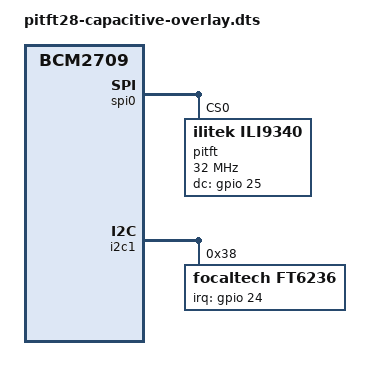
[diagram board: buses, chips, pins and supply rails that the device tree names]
/*
 * Device Tree overlay for Adafruit PiTFT 2.8" capacitive touch screen
 *
 */

/dts-v1/;
/plugin/;

/ {
        compatible = "brcm,bcm2835", "brcm,bcm2708", "brcm,bcm2709";

        fragment@0 {
                target = <&spi0>;
                __overlay__ {
                        status = "okay";
                };
        };

	fragment@1 {
		target = <&spidev0>;
		__overlay__ {
			status = "disabled";
		};
	};

        fragment@2 {
                target = <&gpio>;
                __overlay__ {
                        pitft_pins: pitft_pins {
                                brcm,pins = <24 25>;
                                brcm,function = <0 1>; /* in out */
                                brcm,pull = <2 0>; /* pullup none */
                        };
                };
        };

        fragment@3 {
                target = <&spi0>;
                __overlay__ {
                        /* needed to avoid dtc warning */
                        #address-cells = <1>;
                        #size-cells = <0>;

                        pitft: pitft@0{
                                compatible = "ilitek,ili9340";
                                reg = <0>;
                                pinctrl-names = "default";
                                pinctrl-0 = <&pitft_pins>;

                                spi-max-frequency = <32000000>;
                                rotate = <90>;
                                fps = <25>;
                                bgr;
                                buswidth = <8>;
                                dc-gpios = <&gpio 25 0>;
                                debug = <0>;
                        };
                };
        };

        fragment@4 {
                target = <&i2c1>;
                __overlay__ {
                        /* needed to avoid dtc warning */
                        #address-cells = <1>;
                        #size-cells = <0>;

                        ft6236: ft6236@38 {
                                compatible = "focaltech,ft6236";
                                reg = <0x38>;

                                interrupt-parent = <&gpio>;
                                interrupts = <24 2>;
                                touchscreen-size-x = <240>;
                                touchscreen-size-y = <320>;
                        };
                };
        };

        __overrides__ {
                speed =   <&pitft>,"spi-max-frequency:0";
                rotate =  <&pitft>,"rotate:0";
                fps =     <&pitft>,"fps:0";
                debug =   <&pitft>,"debug:0";
                touch-sizex = <&ft6236>,"touchscreen-size-x?";
                touch-sizey = <&ft6236>,"touchscreen-size-y?";
                touch-invx  = <&ft6236>,"touchscreen-inverted-x?";
                touch-invy  = <&ft6236>,"touchscreen-inverted-y?";
                touch-swapxy = <&ft6236>,"touchscreen-swapped-x-y?";
        };
};
